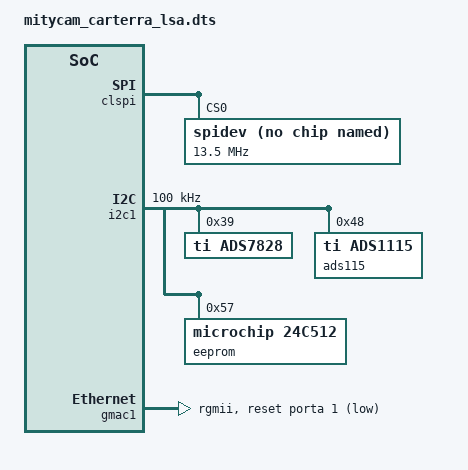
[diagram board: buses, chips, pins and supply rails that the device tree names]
/*
 * Copyright (C) 2014-2015 Altera Corporation <www.altera.com>
 *
 * This program is free software; you can redistribute it and/or modify
 * it under the terms of the GNU General Public License as published by
 * the Free Software Foundation; either version 2 of the License, or
 * (at your option) any later version.
 *
 * This program is distributed in the hope that it will be useful,
 * but WITHOUT ANY WARRANTY; without even the implied warranty of
 * MERCHANTABILITY or FITNESS FOR A PARTICULAR PURPOSE.  See the
 * GNU General Public License for more details.
 *
 * You should have received a copy of the GNU General Public License
 * along with this program.  If not, see <http://www.gnu.org/licenses/>.
 */

/dts-v1/;
#include "mitysom_a10s_dsc.dtsi"

/ {
	aliases {
		spi0 = &spi0;
		serial1 = &uart0;
	};

	soc {
		hps_lw_bus: bus@0ff200000 {
			compatible = "simple-bus";
			reg = <0xFF200000 0x00200000>;
			#address-cells = <1>;
			#size-cells = <1>;
			ranges = <0x0 0xFF200000 0x00200000>;
			status = "okay";

			sysid_qsys: sysid@0000 {
				compatible = "altr,sysid-1.0";
				reg = <0x000000 0x08>;
			};

			pio_outputs: gpio@4000 {
				compatible = "altr,pio-1.0";
				reg = <0x00004000 0x10>;
				altr,ngpio = <32>;
				#gpio-cells = <2>;
				gpio-controller;
				gpio-line-names = "SENSOR_PS_ENB", "XMASTER", "XCLR", "TEC_DIR_COOLN",
						  "TEC_BREAK", "CLOCK_EN", "", "",
						  "","","","",
						  "","","","",
						  "","","","",
						  "","","","",
						  "","","","",
						  "","","","";
			};

			pio_inputs: gpio@5000 {
				compatible = "altr,pio-1.0";
				reg = <0x00005000 0x10>;
				altr,ngpio = <32>;
				#interrupts = <0 22 4>;
				#altr,interrupt-type = <IRQ_TYPE_EDGE_RISING>;
				#gpio-cells = <2>;
				gpio-controller;
				#interrupt-cells = <1>;
				#interrupt-controller;
				gpio-line-names = "DONE", "TOUT0", "TOUT1", "TOUT2",
						  "XVS", "XHS", "IOPLL_LOCKED", "",
						  "","","","",
						  "","","","",
						  "","","","",
						  "","","","",
						  "","","","",
						  "","","","";
			};

			clspi: spi@3000 {
				compatible = "cl,spi-1.0";
				#address-cells = <1>;
				#size-cells = <0>;
				reg = <0x00003000 0x0100>;
				interrupts = <0 21 4>;
				master-ref-clk = <100000000>;
				num-chipselect = <1>;
				bus-num = <0>;

				spidev@1 {
					compatible = "cl,spidev";
					/* Sensor supports up to 13.5Mhz */
					spi-max-frequency = <13500000>;
					reg = <0>;
				};
			};

		};

		/* Order of uio is important. Don't reorder, will change /dev/uio# */
		streamer0: streamer@80000000 {
			compatible = "uio,irq";
			interrupts = <0 20 4>;
		};

		sony_imx250: sony_imx250@ff201000 {
			compatible = "uio,irq";
			interrupts = <0 19 4>;
		};
	};
};

&i2c1 {
	status = "okay";
	clock-frequency = <100000>;
	i2c-sda-hold-time-ns = <500>;

	/* Address 0x39. ADS7828E */
	ads7828@39 {
		compatible = "ti,ads7828";
		reg = <0x39>;
	};

	/* Address 0x42.  ENS210.  No Driver Available.  Controlled by LibDaq */

	/* see Documentation/devicetree/bindings/hwmon/ads1015.txt */
	ads115@48 {
		compatible = "ti,ads1115";
		reg = <0x48>;
		#address-cells = <1>;
		#size-cells = <0>;

		/* AIN0 (VRT1) - AIN1 (1.024),  RT1 */
		channel@0 {
			reg = <0>;
			ti,gain = <3>; /* +/- 1.024 V range (TBC) */
			ti,datarate = <0>; /* 8 SPS */
		};

		/* AIN0 (VRT2) - AIN3 (1.024),  RT2 */
		channel@3 {
			reg = <3>;
			ti,gain = <3>; /* +/- 1.024 V range (TBC) */
			ti,datarate = <0>; /* 8 SPS */
		};
	};

	/* Sensor board EEPROM */
	eeprom@50 {
		compatible = "microchip,24c512";
		reg = <0x57>;
	};

	/* USB IO Tri-Color LED */
	/* disabled - used directly by ARM software */
	/* 
	led@62 {
		compatible = "nxp,pca9553";
		reg = <0x62>;
	}; */

	/* DAC used for TEC control */
	/* MCP4725 at address 0x63 */
	/* disabled - used directly by ARM software */

};

&gmac1 {
	phy-mode = "rgmii";
	phy-addr = <0xffffffff>; /* probe for phy addr */

	/*
	 * These skews assume the user's FPGA design is adding 600ps of delay
	 * for TX_CLK on Arria 10.
	 *
	 * All skews are offset since hardware skew values for the ksz9031
	 * range from a negative skew to a positive skew.
	 * See the micrel-ksz90x1.txt Documentation file for details.
	 */
	txd0-skew-ps = <0>; /* -420ps */
	txd1-skew-ps = <0>; /* -420ps */
	txd2-skew-ps = <0>; /* -420ps */
	txd3-skew-ps = <0>; /* -420ps */
	rxd0-skew-ps = <420>; /* 0ps */
	rxd1-skew-ps = <420>; /* 0ps */
	rxd2-skew-ps = <420>; /* 0ps */
	rxd3-skew-ps = <420>; /* 0ps */
	txen-skew-ps = <0>; /* -420ps */
	txc-skew-ps = <1860>; /* 960ps */
	rxdv-skew-ps = <420>; /* 0ps */
	rxc-skew-ps = <1680>; /* 780ps */
	max-frame-size = <3800>;
	snps,reset-gpio = <&porta 1 GPIO_ACTIVE_LOW>; 			
	snps,reset-delays-us = <0 10000 1000000>;
	snps,reset-active-low;
	status = "okay";
};
